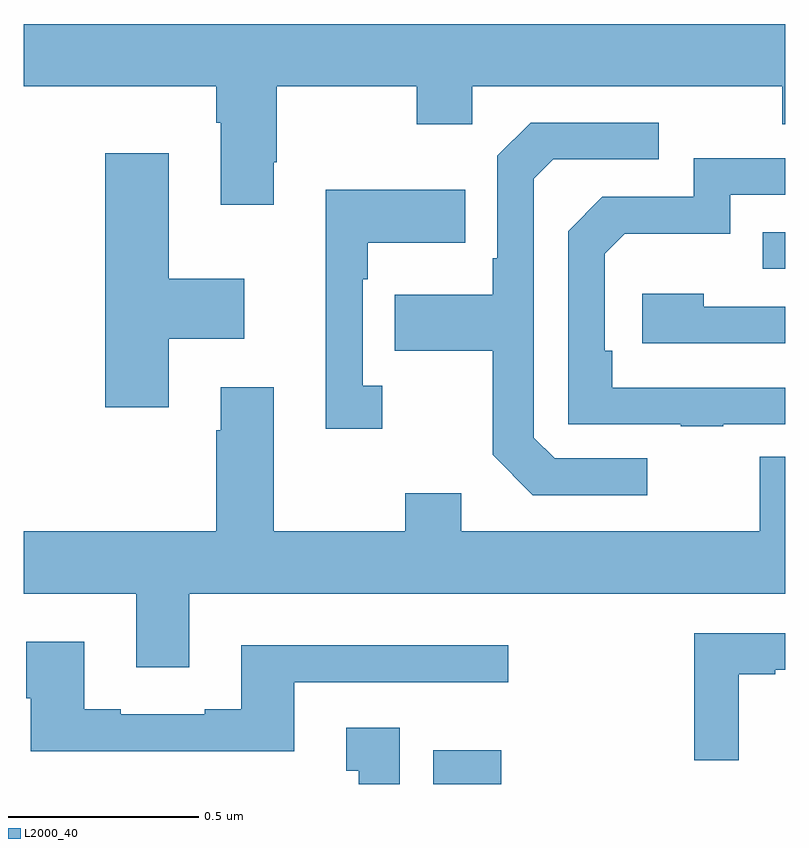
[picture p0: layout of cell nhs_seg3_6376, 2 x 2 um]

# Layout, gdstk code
import gdstk
lib = gdstk.Library(unit=1e-6, precision=1e-09)
def R(c, l, rs):  # rectangles x0, y0, x1, y1
    for r in rs: c.add(gdstk.rectangle(r[:2], r[2:], *l))
def P(c, l, *ps):  # polygons
    for p in ps: c.add(gdstk.Polygon(p, *l))
L2000_40 = (2000, 40)

nhs_seg3_6376 = lib.new_cell('nhs_seg3_6376')
R(nhs_seg3_6376, L2000_40, [(191.075,716.4,191.254,716.488), (191.941,717.753,192,717.849)])
P(nhs_seg3_6376, L2000_40, [(190.657,718.033),(190.665,718.033),(190.665,718.232),(191.032,718.232),(191.032,718.133),(191.178,718.133),(191.178,718.232),(191.992,718.232),(191.992,718.133),(192,718.133),(192,718.396),(190,718.396),(190,718.232),(190.505,718.232),(190.505,718.136),(190.517,718.136),(190.517,717.921),(190.657,717.921)],
  [(191.638,717.255),(191.394,717.255),(191.34,717.309),(191.34,717.99),(191.391,718.041),(191.668,718.041),(191.668,718.137),(191.331,718.137),(191.244,718.05),(191.244,717.781),(191.232,717.781),(191.232,717.685),(190.975,717.685),(190.975,717.538),(191.232,717.538),(191.232,717.265),(191.337,717.159),(191.638,717.159)],
  [(190.381,717.569),(190.579,717.569),(190.579,717.727),(190.381,717.727),(190.381,718.057),(190.214,718.057),(190.214,717.39),(190.381,717.39)],
  [(191.837,717.345),(192,717.345),(192,717.441),(191.546,717.441),(191.546,717.538),(191.526,717.538),(191.526,717.792),(191.579,717.845),(191.856,717.845),(191.856,717.948),(192,717.948),(192,718.044),(191.76,718.044),(191.76,717.942),(191.52,717.942),(191.43,717.852),(191.43,717.345),(191.725,717.345),(191.725,717.34),(191.837,717.34)],
  [(190.942,717.446),(190.89,717.446),(190.89,717.725),(190.903,717.725),(190.903,717.821),(191.159,717.821),(191.159,717.961),(190.793,717.961),(190.793,717.333),(190.942,717.333)],
  [(192,717.654),(191.786,717.654),(191.786,717.688),(191.625,717.688),(191.625,717.558),(192,717.558)],
  [(190.435,716.9),(192,716.9),(192,717.259),(191.933,717.259),(191.933,717.064),(191.149,717.064),(191.149,717.163),(191.002,717.163),(191.002,717.064),(190.657,717.064),(190.657,717.442),(190.517,717.442),(190.517,717.329),(190.505,717.329),(190.505,717.064),(190,717.064),(190,716.9),(190.295,716.9),(190.295,716.706),(190.435,716.706)],
  [(191.878,716.688),(191.974,716.688),(191.974,716.7),(192,716.7),(192,716.796),(191.761,716.796),(191.761,716.463),(191.878,716.463)],
  [(190.711,716.667),(191.272,716.667),(191.272,716.764),(190.571,716.764),(190.571,716.596),(190.475,716.596),(190.475,716.583),(190.255,716.583),(190.255,716.596),(190.159,716.596),(190.159,716.773),(190.007,716.773),(190.007,716.625),(190.019,716.625),(190.019,716.486),(190.711,716.486)],
  [(190.987,716.548),(190.847,716.548),(190.847,716.435),(190.88,716.435),(190.88,716.4),(190.987,716.4)])

lib.write_gds('nhs_seg3_6376.gds')
